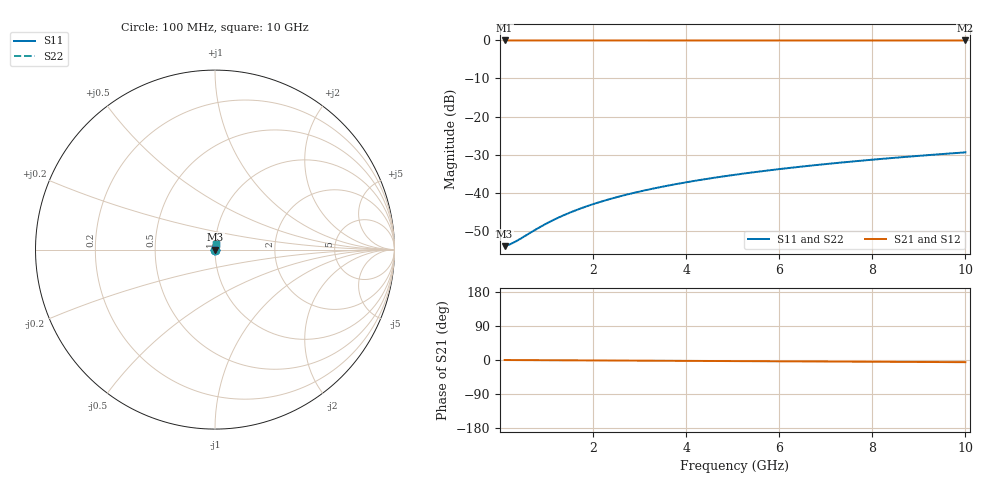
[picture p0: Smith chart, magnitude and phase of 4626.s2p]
# Hz S RI R 50.00
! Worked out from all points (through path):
!   100 points, 100 MHz to 10 GHz, reference 50 ohm
!   highest |S21| = -0.02 dB at 100 MHz (marker M1); lowest = 0.0 dB at 10 GHz (marker M2)
!   lowest |S11| = -54.0 dB at 100 MHz (marker M3), VSWR 1.00, Z = 50.2 + j0.0338 ohm
!   |S11| at or under -10 dB: start of sweep to end of sweep
!   |S22| runs from -54.0 to -29.4 dB; largest |S21 - S12| = 0
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1e8  0.00196 0.000337  0.998 -0.001  0.998 -0.001  0.00196 0.000337
2e8  0.00197 0.000673  0.998 -0.002  0.998 -0.002  0.00197 0.000673
3e8  0.00198 0.00101  0.998 -0.003  0.998 -0.003  0.00198 0.00101
4e8  0.00199 0.00135  0.998 -0.004  0.998 -0.004  0.00199 0.00135
8e8  0.00203 0.00269  0.9979 -0.008  0.9979 -0.008  0.00203 0.00269
1.1e9  0.00206 0.0037  0.9979 -0.011  0.9979 -0.011  0.00206 0.0037
1.4e9  0.0021 0.00471  0.9978 -0.014  0.9978 -0.014  0.0021 0.00471
1.6e9  0.00212 0.00539  0.9978 -0.016  0.9978 -0.016  0.00212 0.00539
1.8e9  0.00215 0.00606  0.9978 -0.018  0.9978 -0.018  0.00215 0.00606
2.1e9  0.0022 0.00707  0.9977 -0.021  0.9977 -0.021  0.0022 0.00707
2.5e9  0.00227 0.00841  0.9976 -0.025  0.9976 -0.025  0.00227 0.00841
2.9e9  0.00235 0.00976  0.9974 -0.029  0.9974 -0.029  0.00235 0.00976
3.4e9  0.00247 0.0114  0.9973 -0.034  0.9973 -0.034  0.00247 0.0114
3.8e9  0.00257 0.0128  0.9971 -0.038  0.9971 -0.038  0.00257 0.0128
4.2e9  0.00269 0.0141  0.9969 -0.042  0.9969 -0.042  0.00269 0.0141
4.6e9  0.00281 0.0155  0.9967 -0.046  0.9967 -0.046  0.00281 0.0155
5.1e9  0.00299 0.0171  0.9964 -0.051  0.9964 -0.051  0.00299 0.0171
5.9e9  0.0033 0.0198  0.9959 -0.059  0.9959 -0.059  0.0033 0.0198
6.7e9  0.00365 0.0225  0.9953 -0.067  0.9953 -0.067  0.00365 0.0225
7.5e9  0.00404 0.0251  0.9947 -0.0749  0.9947 -0.0749  0.00404 0.0251
8.4e9  0.00454 0.0281  0.9938 -0.0839  0.9938 -0.0839  0.00454 0.0281
1e10  0.00555 0.0334  0.9922 -0.0998  0.9922 -0.0998  0.00555 0.0334
